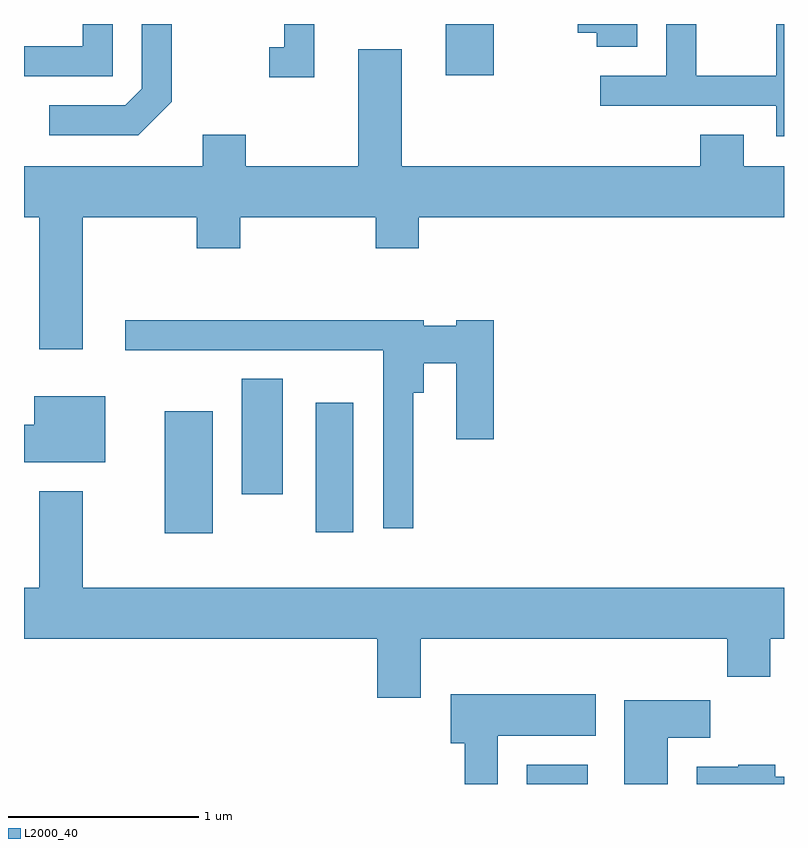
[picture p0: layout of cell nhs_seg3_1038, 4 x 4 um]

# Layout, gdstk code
import gdstk
lib = gdstk.Library(unit=1e-6, precision=1e-09)
def R(c, l, rs):  # rectangles x0, y0, x1, y1
    for r in rs: c.add(gdstk.rectangle(r[:2], r[2:], *l))
def P(c, l, *ps):  # polygons
    for p in ps: c.add(gdstk.Polygon(p, *l))
L2000_40 = (2000, 40)

nhs_seg3_1038 = lib.new_cell('nhs_seg3_1038')
R(nhs_seg3_1038, L2000_40, [(218.256,1151.892,218.579,1151.994), (216.351,1153.211,216.604,1153.854), (217.146,1153.216,217.344,1153.899), (216.756,1153.416,216.974,1154.024), (217.831,1155.621,218.084,1155.892)])
P(nhs_seg3_1038, L2000_40, [(216.389,1155.484),(216.389,1155.892),(216.231,1155.892),(216.231,1155.552),(216.144,1155.464),(215.743,1155.464),(215.743,1155.306),(216.212,1155.306)],
  [(219.611,1155.892),(219.571,1155.892),(219.571,1155.619),(219.149,1155.619),(219.149,1155.892),(218.991,1155.892),(218.991,1155.619),(218.643,1155.619),(218.643,1155.461),(219.571,1155.461),(219.571,1155.301),(219.611,1155.301)],
  [(218.839,1155.892),(218.526,1155.892),(218.526,1155.846),(218.626,1155.846),(218.626,1155.771),(218.839,1155.771)],
  [(217.139,1155.892),(216.981,1155.892),(216.981,1155.769),(216.903,1155.769),(216.903,1155.611),(217.139,1155.611)],
  [(216.079,1155.892),(215.921,1155.892),(215.921,1155.774),(215.611,1155.774),(215.611,1155.616),(216.079,1155.616)],
  [(215.919,1154.876),(216.521,1154.876),(216.521,1154.711),(216.749,1154.711),(216.749,1154.876),(217.461,1154.876),(217.461,1154.711),(217.689,1154.711),(217.689,1154.876),(219.611,1154.876),(219.611,1155.144),(219.399,1155.144),(219.399,1155.309),(219.171,1155.309),(219.171,1155.144),(217.599,1155.144),(217.599,1155.759),(217.371,1155.759),(217.371,1155.144),(216.779,1155.144),(216.779,1155.309),(216.551,1155.309),(216.551,1155.144),(215.611,1155.144),(215.611,1154.876),(215.691,1154.876),(215.691,1154.181),(215.919,1154.181)],
  [(217.659,1153.951),(217.714,1153.951),(217.714,1154.106),(217.886,1154.106),(217.886,1153.706),(218.084,1153.706),(218.084,1154.334),(217.886,1154.334),(217.886,1154.304),(217.714,1154.304),(217.714,1154.334),(216.143,1154.334),(216.143,1154.176),(217.501,1154.176),(217.501,1153.238),(217.659,1153.238)],
  [(216.039,1153.934),(215.666,1153.934),(215.666,1153.784),(215.611,1153.784),(215.611,1153.586),(216.039,1153.586)],
  [(217.699,1152.656),(219.311,1152.656),(219.311,1152.456),(219.539,1152.456),(219.539,1152.656),(219.611,1152.656),(219.611,1152.924),(215.919,1152.924),(215.919,1153.434),(215.691,1153.434),(215.691,1152.924),(215.611,1152.924),(215.611,1152.656),(217.471,1152.656),(217.471,1152.346),(217.699,1152.346)],
  [(218.104,1152.146),(218.619,1152.146),(218.619,1152.364),(217.856,1152.364),(217.856,1152.106),(217.931,1152.106),(217.931,1151.892),(218.104,1151.892)],
  [(218.999,1152.136),(219.224,1152.136),(219.224,1152.334),(218.771,1152.334),(218.771,1151.892),(218.999,1151.892)],
  [(219.611,1151.929),(219.564,1151.929),(219.564,1151.994),(219.37,1151.994),(219.37,1151.984),(219.151,1151.984),(219.151,1151.892),(219.611,1151.892)])

lib.write_gds('nhs_seg3_1038.gds')
